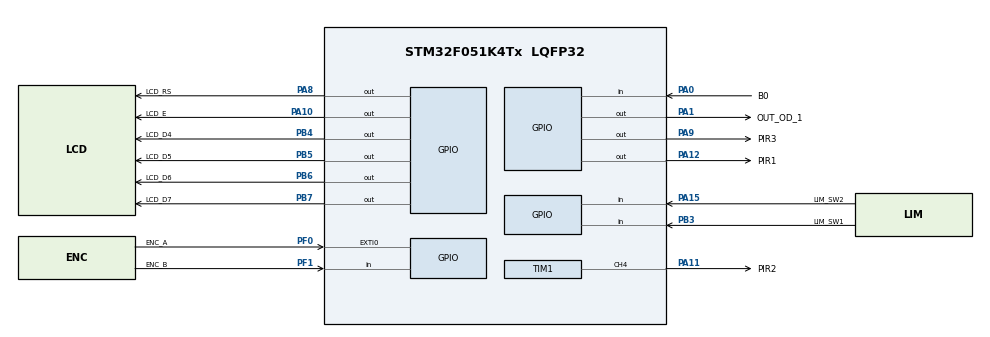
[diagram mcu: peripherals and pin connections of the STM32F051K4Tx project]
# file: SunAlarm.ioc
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Mcu.Family=STM32F0
Mcu.Name=STM32F051K4Tx
Mcu.Package=LQFP32
NVIC.EXTI0_1_IRQn=true\:1\:0\:true\:false\:true\:true\:true
PA0.GPIO_Label=B0
PA0.GPIO_PuPd=GPIO_PULLUP
PA0.Signal=GPIO_Input
PA1.GPIO_Label=OUT_OD_1
PA1.GPIO_ModeDefaultOutputPP=GPIO_MODE_OUTPUT_PP
PA1.GPIO_PuPd=GPIO_PULLUP
PA1.GPIO_Speed=GPIO_SPEED_FREQ_MEDIUM
PA1.PinState=GPIO_PIN_SET
PA1.Signal=GPIO_Output
PA10.GPIO_Label=LCD_E
PA10.GPIO_ModeDefaultOutputPP=GPIO_MODE_OUTPUT_PP
PA10.GPIO_PuPd=GPIO_NOPULL
PA10.GPIO_Speed=GPIO_SPEED_FREQ_MEDIUM
PA10.PinState=GPIO_PIN_RESET
PA10.Signal=GPIO_Output
PA11.GPIO_Label=PIR2
PA11.GPIO_Speed=GPIO_SPEED_FREQ_HIGH
PA11.Signal=S_TIM1_CH4
PA12.GPIO_Label=PIR1
PA12.Signal=GPIO_Output
PA13.Mode=Serial_Wire
PA13.Signal=SYS_SWDIO
PA14.Mode=Serial_Wire
PA14.Signal=SYS_SWCLK
PA15.GPIO_Label=LIM_SW2
PA15.GPIO_Mode=GPIO_MODE_INPUT
PA15.GPIO_PuPd=GPIO_NOPULL
PA15.Signal=GPIO_Input
PA8.GPIO_Label=LCD_RS
PA8.GPIO_ModeDefaultOutputPP=GPIO_MODE_OUTPUT_PP
PA8.GPIO_PuPd=GPIO_NOPULL
PA8.GPIO_Speed=GPIO_SPEED_FREQ_MEDIUM
PA8.PinState=GPIO_PIN_RESET
PA8.Signal=GPIO_Output
PA9.GPIO_Label=PIR3
PA9.Signal=GPIO_Output
PB3.GPIO_Label=LIM_SW1
PB3.GPIO_Mode=GPIO_MODE_INPUT
PB3.GPIO_PuPd=GPIO_NOPULL
PB3.Signal=GPIO_Input
PB4.GPIO_Label=LCD_D4
PB4.GPIO_ModeDefaultOutputPP=GPIO_MODE_OUTPUT_PP
PB4.GPIO_PuPd=GPIO_NOPULL
PB4.GPIO_Speed=GPIO_SPEED_FREQ_MEDIUM
PB4.PinState=GPIO_PIN_RESET
PB4.Signal=GPIO_Output
PB5.GPIO_Label=LCD_D5
PB5.GPIO_ModeDefaultOutputPP=GPIO_MODE_OUTPUT_PP
PB5.GPIO_PuPd=GPIO_NOPULL
PB5.GPIO_Speed=GPIO_SPEED_FREQ_MEDIUM
PB5.PinState=GPIO_PIN_RESET
PB5.Signal=GPIO_Output
PB6.GPIO_Label=LCD_D6
PB6.GPIO_ModeDefaultOutputPP=GPIO_MODE_OUTPUT_PP
PB6.GPIO_PuPd=GPIO_NOPULL
PB6.GPIO_Speed=GPIO_SPEED_FREQ_MEDIUM
PB6.PinState=GPIO_PIN_RESET
PB6.Signal=GPIO_Output
PB7.GPIO_Label=LCD_D7
PB7.GPIO_ModeDefaultOutputPP=GPIO_MODE_OUTPUT_PP
PB7.GPIO_PuPd=GPIO_NOPULL
PB7.GPIO_Speed=GPIO_SPEED_FREQ_MEDIUM
PB7.PinState=GPIO_PIN_RESET
PB7.Signal=GPIO_Output
PF0-OSC_IN.GPIO_Label=ENC_A
PF0-OSC_IN.GPIO_ModeDefaultEXTI=GPIO_MODE_IT_RISING_FALLING
PF0-OSC_IN.GPIO_PuPd=GPIO_PULLUP
PF0-OSC_IN.Signal=GPXTI0
PF1-OSC_OUT.GPIO_Label=ENC_B
PF1-OSC_OUT.GPIO_PuPd=GPIO_PULLUP
PF1-OSC_OUT.Signal=GPIO_Input
ProjectManager.HeapSize=0x200
ProjectManager.StackSize=0x400
ProjectManager.TargetToolchain=Makefile
RTC.AsynchPrediv=123
RTC.HourFormat=RTC_HOURFORMAT_24
RTC.SynchPrediv=329
SH.S_TIM1_CH4.0=TIM1_CH4,PWM Generation4 CH4
TIM1.AutoReloadPreload=TIM_AUTORELOAD_PRELOAD_ENABLE
TIM1.AutomaticOutput=TIM_AUTOMATICOUTPUT_DISABLE
TIM1.BreakPolarity=TIM_BREAKPOLARITY_HIGH
TIM1.BreakState=TIM_BREAK_DISABLE
TIM1.Channel-PWM\ Generation4\ CH4=TIM_CHANNEL_4
TIM1.ClearInputSource=TIM_CLEARINPUTSOURCE_NONE
TIM1.ClockDivision=TIM_CLOCKDIVISION_DIV1
TIM1.CounterMode=TIM_COUNTERMODE_UP
TIM1.LockLevel=TIM_LOCKLEVEL_OFF
TIM1.OC4Preload_PWM=ENABLE
TIM1.OCFastMode_PWM-PWM\ Generation4\ CH4=TIM_OCFAST_ENABLE
TIM1.OCIdleState_4=TIM_OCIDLESTATE_RESET
TIM1.OCMode_PWM-PWM\ Generation4\ CH4=TIM_OCMODE_PWM1
TIM1.OCPolarity_4=TIM_OCPOLARITY_HIGH
TIM1.OffStateIDLEMode=TIM_OSSI_DISABLE
TIM1.Period=65535
TIM1.Prescaler=0
TIM1.Pulse-PWM\ Generation4\ CH4=32762
TIM1.RepetitionCounter=0
TIM1.TIM_MasterOutputTrigger=TIM_TRGO_RESET
TIM1.TIM_MasterSlaveMode=TIM_MASTERSLAVEMODE_DISABLE
VP_RTC_VS_RTC_Activate.Mode=RTC_Enabled
VP_TIM1_VS_ClockSourceINT.Mode=Internal
board=v3

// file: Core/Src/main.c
/* USER CODE BEGIN Header */
/**
 ******************************************************************************
 * @file           : main.c
 * @brief          : Main program body
 ******************************************************************************
 *
 * SunAlarm
 * @date    Jan-2022
 * @author  Domen Jurkovic
 * @source  http://damogranlabs.com/
 *          https://github.com/damogranlabs/SunAlarm
 *
 * ******************************************************************************
 */
/* USER CODE END Header */
#include "main.h"
#include "rtc.h"
#include "tim.h"
#include "gpio.h"

/* USER CODE BEGIN Includes */
#include "buttons.h"
#include "rot_enc.h"
#include "lcd.h"

#include "logic.h"
#include "sun_ctrl.h"
#include "display_ctrl.h"
/* USER CODE END Includes */

/* USER CODE BEGIN PV */
extern volatile bool rtc_event;
extern rot_enc_data_t encoder;
extern button_t buttons[NUM_OF_BUTTONS];

volatile uint32_t systick_counter = 0;
/* USER CODE END PV */

void SystemClock_Config(void);

void handle_systick_overflow(void);

int main(void)
{

  /* MCU Configuration--------------------------------------------------------*/

  /* Reset of all peripherals, Initializes the Flash interface and the Systick. */

  LL_APB1_GRP2_EnableClock(LL_APB1_GRP2_PERIPH_SYSCFG);
  LL_APB1_GRP1_EnableClock(LL_APB1_GRP1_PERIPH_PWR);

  /* System interrupt init*/

  /* Configure the system clock */
  SystemClock_Config();

  /* Initialize all configured peripherals */
  MX_GPIO_Init();
  MX_RTC_Init();
  MX_TIM1_Init();
  /* USER CODE BEGIN 2 */
  LL_SYSTICK_EnableIT();

  btn_register(buttons, B_SETUP_Port, B_SETUP_Pin, BTN_MODE_LONGPRESS);
  btn_register(buttons, B_LA_CTRL_Port, B_LA_CTRL_Pin, BTN_MODE_LONGPRESS);

  rot_enc_init(&encoder, ENC_A_GPIO_Port, ENC_A_Pin, ENC_B_GPIO_Port, ENC_B_Pin);
  rot_enc_set_direction(&encoder, ROT_ENC_INC_CCW);

  lcd_init(2, 16);
  lcd_clear();
  create_status_icons();
  ctrl_lcd_backlight(true, true);

  set_defaults();
  sun_init();
  show_alarm_state();

  /*
  // just for debugging
  extern configuration_t cfg_data;
  set_new_time(6, 18, 54);
  cfg_data.wakeup_time_min = 1;
  cfg_data.wakeup_timeout_min = 1;
  cfg_data.alarm_time[0] = 6;
  cfg_data.alarm_time[1] = 20;
  set_alarm_state(true);
  */
  /* USER CODE END 2 */

  /* Infinite loop */
  /* USER CODE BEGIN WHILE */
  while (1)
  {
    if (rtc_event)
    {
      if (!is_setup_mode())
      {
        show_time_and_alarm_active();

        handle_systick_overflow();

        if (is_alarm_enabled())
        {
          handle_alarm();
        }
      }

      rtc_event = false;
    }
    if (is_alarm_enabled())
    {
      if (is_alarm_active())
      {
        handle_alarm_intensity(false);
      }
      else
      {
        handle_alarm_timeout();
      }
    }
    btn_handle(buttons);

    handle_interactions();

    handle_lcd_backlight();

    /* USER CODE END WHILE */

  }
}

void SystemClock_Config(void)
{
  LL_FLASH_SetLatency(LL_FLASH_LATENCY_0);
  while (LL_FLASH_GetLatency() != LL_FLASH_LATENCY_0)
  {
  }
  LL_RCC_HSI_Enable();

  /* Wait till HSI is ready */
  while (LL_RCC_HSI_IsReady() != 1)
  {
  }
  LL_RCC_HSI_SetCalibTrimming(16);
  LL_RCC_LSI_Enable();

  /* Wait till LSI is ready */
  while (LL_RCC_LSI_IsReady() != 1)
  {
  }
  LL_PWR_EnableBkUpAccess();
  if (LL_RCC_GetRTCClockSource() != LL_RCC_RTC_CLKSOURCE_LSI)
  {
    LL_RCC_ForceBackupDomainReset();
    LL_RCC_ReleaseBackupDomainReset();
    LL_RCC_SetRTCClockSource(LL_RCC_RTC_CLKSOURCE_LSI);
  }
  LL_RCC_EnableRTC();
  LL_RCC_SetAHBPrescaler(LL_RCC_SYSCLK_DIV_1);
  LL_RCC_SetAPB1Prescaler(LL_RCC_APB1_DIV_1);
  LL_RCC_SetSysClkSource(LL_RCC_SYS_CLKSOURCE_HSI);

  /* Wait till System clock is ready */
  while (LL_RCC_GetSysClkSource() != LL_RCC_SYS_CLKSOURCE_STATUS_HSI)
  {
  }
  LL_Init1msTick(8000000);
  LL_SetSystemCoreClock(8000000);
}

/* USER CODE BEGIN 4 */
uint32_t GetTick(void)
{
  return systick_counter;
}

void handle_systick_overflow(void)
{
  // To avoid buttons deadlock every 49 days (systick 32-bit variable overflow),
  // reset systick variable and other dependant variables on a pre-defined time
  uint8_t h, m, s;

  // Skip procedure if alarm is active/setup mode
  // (hopefully no one has their alarm/setup mode regularly set at such crazy times
  if (!is_alarm_active())
  {
    if (!is_setup_mode())
    {
      get_current_time(&h, &m, &s);
      if ((h == SYSTICK_RESET_HOUR) && (m == SYSTICK_RESET_MIN) && (s == SYSTICK_RESET_SEC))
      {
        reset_lcd_backlight_time_on_systick_overflow();
        btn_reset_timestamps(buttons);
        systick_counter = 0;
      }
    }
  }
  // else: just try next day. once in 49 days will probably go through.
}
/* USER CODE END 4 */

void Error_Handler(void)
{
  __disable_irq();
  while (1)
  {
  }
}
